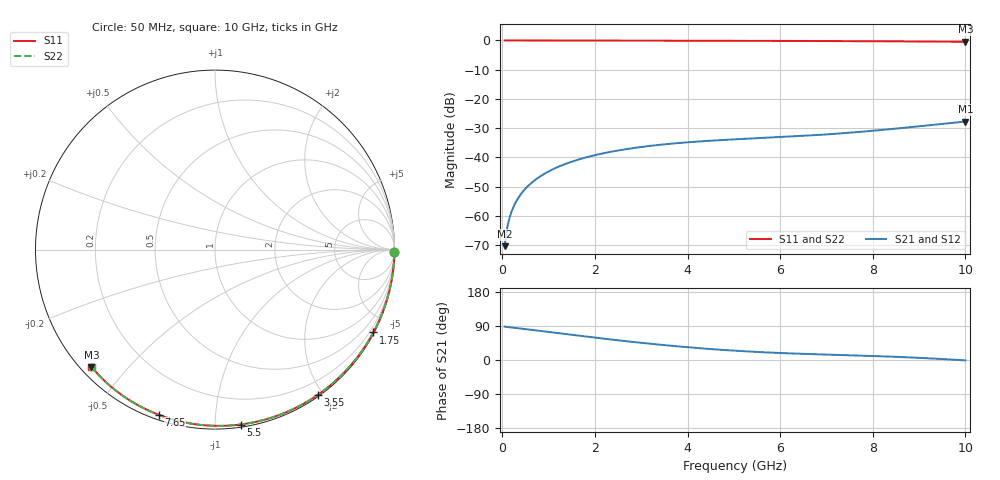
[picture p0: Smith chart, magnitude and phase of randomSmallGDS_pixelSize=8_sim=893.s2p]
! freq	dB(S11)	phase(S11)	dB(S12)	phase(S12)
!  dB(S21)	phase(S21)	dB(S22)	phase(S22)
!S-par simulation data
#  GHz  S  DB  R 50
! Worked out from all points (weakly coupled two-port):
!   200 points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, 50 MHz to 10 GHz, reference 50 ohm
!   highest |S21| = -27.71 dB at 10 GHz (marker M1); lowest = -70.3 dB at 50 MHz (marker M2)
!   lowest |S11| = -0.5 dB at 10 GHz (marker M3), VSWR 38.35, Z = 1.51 - j19.9 ohm
!   |S11| at or under -10 dB: nowhere
!   |S22| runs from -0.5 to 0.0 dB; largest |S21 - S12| = 0
!   S11 on the Smith chart (normalised r, x): 50 MHz: open; 1.75 GHz: 0.04, -4.07; 3.55 GHz: 0.02, -1.94; 5.5 GHz: 0.02, -1.16; 7.65 GHz: 0.02, -0.72; 10 GHz: 0.03, -0.40
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0.05  -0.00 -0.8  -70.31 88.3  -70.31 88.3  -0.00 -0.8
0.1  -0.00 -1.6  -64.39 87.2  -64.39 87.2  -0.00 -1.6
0.15  -0.00 -2.4  -60.95 86.4  -60.95 86.4  -0.00 -2.4
0.2  -0.00 -3.2  -58.50 85.7  -58.50 85.7  -0.00 -3.2
0.25  -0.00 -4.0  -56.59 85.1  -56.59 85.1  -0.00 -4.0
0.35  -0.00 -5.6  -53.71 83.7  -53.71 83.7  -0.00 -5.6
0.5  -0.01 -8.0  -50.65 81.5  -50.65 81.5  -0.01 -8.0
0.7  -0.01 -11.2  -47.78 78.5  -47.78 78.5  -0.01 -11.2
1  -0.02 -15.9  -44.77 73.9  -44.77 73.9  -0.02 -15.9
1.35  -0.03 -21.4  -42.29 68.6  -42.29 68.6  -0.03 -21.4
1.75  -0.04 -27.6  -40.23 62.6  -40.23 62.6  -0.04 -27.6
2.5  -0.05 -39.1  -37.60 52.0  -37.60 52.0  -0.05 -39.1
3.4  -0.07 -52.4  -35.67 40.4  -35.67 40.4  -0.07 -52.4
3.55  -0.07 -54.6  -35.43 38.7  -35.43 38.7  -0.07 -54.6
4.3  -0.09 -65.3  -34.47 30.7  -34.47 30.7  -0.09 -65.3
5.05  -0.12 -75.6  -33.78 24.3  -33.78 24.3  -0.12 -75.6
5.5  -0.13 -81.6  -33.42 21.3  -33.42 21.3  -0.13 -81.6
6.7  -0.19 -97.1  -32.42 15.5  -32.42 15.5  -0.19 -97.1
7.65  -0.24 -108.8  -31.34 12.1  -31.34 12.1  -0.24 -108.8
8.35  -0.30 -117.2  -30.35 9.1  -30.35 9.1  -0.30 -117.2
9.2  -0.37 -127.2  -29.02 4.5  -29.02 4.5  -0.37 -127.2
10  -0.45 -136.5  -27.71 -1.0  -27.71 -1.0  -0.45 -136.4
